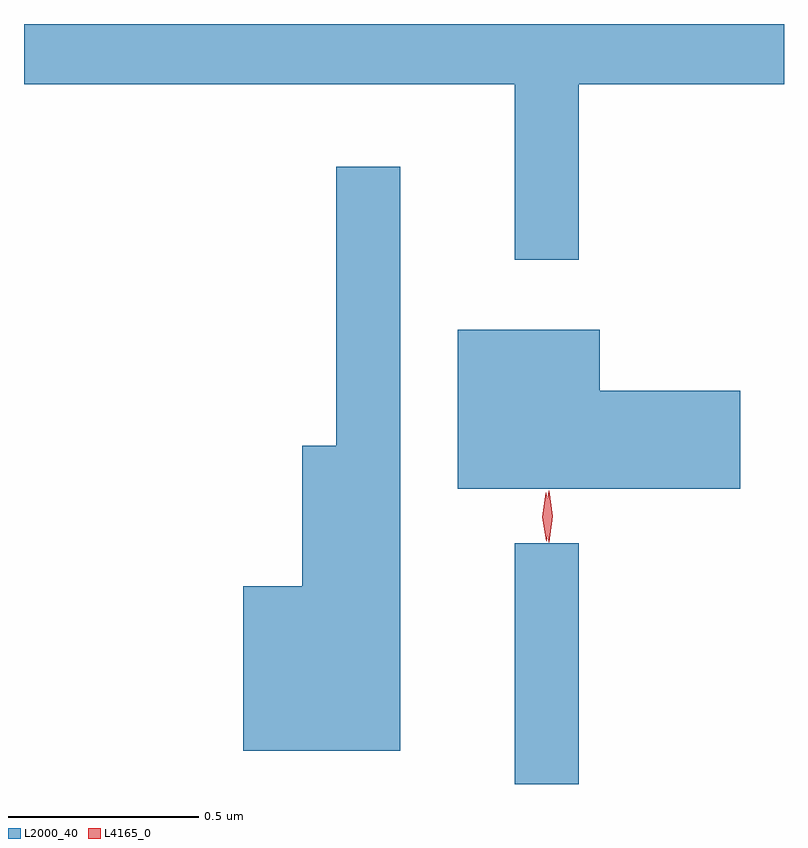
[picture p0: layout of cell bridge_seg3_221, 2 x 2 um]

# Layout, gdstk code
import gdstk
lib = gdstk.Library(unit=1e-6, precision=1e-09)
def R(c, l, rs):  # rectangles x0, y0, x1, y1
    for r in rs: c.add(gdstk.rectangle(r[:2], r[2:], *l))
def P(c, l, *ps):  # polygons
    for p in ps: c.add(gdstk.Polygon(p, *l))
L2000_40 = (2000, 40)
L4165_0 = (4165, 0)

bridge_seg3_221 = lib.new_cell('bridge_seg3_221')
R(bridge_seg3_221, L2000_40, [(959.711,1168.574,959.879,1169.208)])
P(bridge_seg3_221, L2000_40, [(959.879,1170.416),(960.419,1170.416),(960.419,1170.574),(958.419,1170.574),(958.419,1170.416),(959.711,1170.416),(959.711,1169.953),(959.879,1169.953)],
  [(959.409,1170.198),(959.241,1170.198),(959.241,1169.464),(959.151,1169.464),(959.151,1169.094),(958.996,1169.094),(958.996,1168.661),(959.409,1168.661)],
  [(960.304,1169.609),(959.934,1169.609),(959.934,1169.769),(959.561,1169.769),(959.561,1169.351),(960.304,1169.351)])
P(bridge_seg3_221, L4165_0, [(959.8,1169.21),(959.791,1169.278),(959.8,1169.346),(959.801,1169.346),(959.801,1169.346),(959.811,1169.278),(959.801,1169.21),(959.801,1169.21)],
  [(959.793,1169.213),(959.793,1169.214),(959.783,1169.276),(959.792,1169.34),(959.793,1169.34),(959.793,1169.34),(959.803,1169.276),(959.794,1169.214)])

lib.write_gds('bridge_seg3_221.gds')
